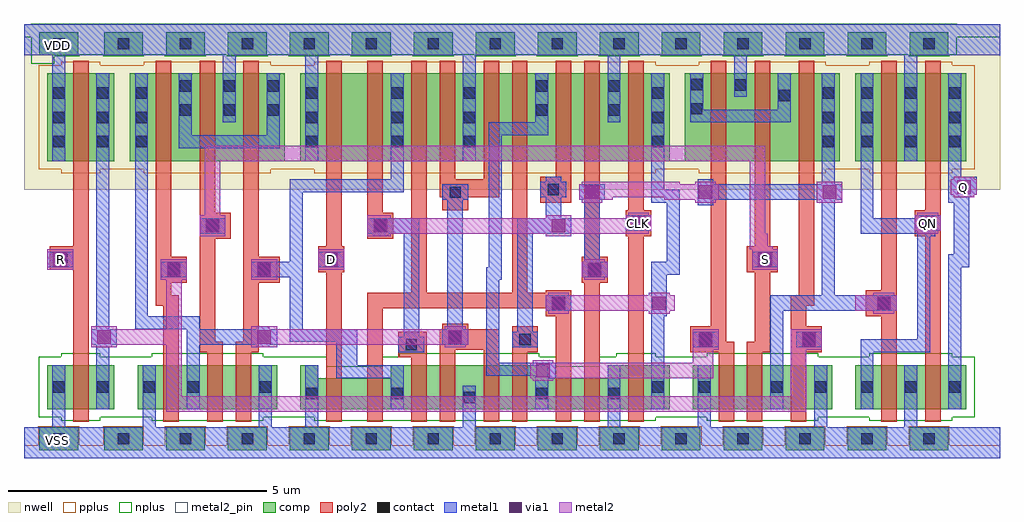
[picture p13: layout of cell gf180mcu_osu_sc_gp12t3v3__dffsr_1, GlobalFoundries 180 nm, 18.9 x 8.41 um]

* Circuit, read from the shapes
.subckt gf180mcu_osu_sc_gp12t3v3__dffsr_1 CLK D Q QN R S VDD VSS
XM1 n1 R VSS VSS nfet_03v3 w=0.85u l=0.3u
XM2 n2 n1 VSS VSS nfet_03v3 w=0.85u l=0.3u
XM3 n3 S n2 VSS nfet_03v3 w=0.85u l=0.3u
XM4 VSS n4 n3 VSS nfet_03v3 w=0.85u l=0.3u
XM5 n5 D VSS VSS nfet_03v3 w=0.6u l=0.3u
XM6 n4 n6 n5 VSS nfet_03v3 w=0.6u l=0.3u
XM7 n7 CLK n4 VSS nfet_03v3 w=0.85u l=0.3u
XM8 VSS n2 n7 VSS nfet_03v3 w=0.85u l=0.3u
XM9 n8 n2 VSS VSS nfet_03v3 w=0.85u l=0.3u
XM10 n9 CLK n8 VSS nfet_03v3 w=0.85u l=0.3u
XM11 n10 n6 n9 VSS nfet_03v3 w=0.6u l=0.3u
XM12 VSS n11 n10 VSS nfet_03v3 w=0.6u l=0.3u
XM13 n6 CLK VSS VSS nfet_03v3 w=0.85u l=0.3u
XM14 n12 n9 VSS VSS nfet_03v3 w=0.85u l=0.3u
XM15 n11 S n12 VSS nfet_03v3 w=0.85u l=0.3u
XM16 VSS n1 n11 VSS nfet_03v3 w=0.85u l=0.3u
XM17 VSS n11 QN VSS nfet_03v3 w=0.85u l=0.3u
XM18 Q QN VSS VSS nfet_03v3 w=0.85u l=0.3u
XM19 n1 R VDD VDD pfet_03v3 w=1.7u l=0.3u
XM20 n13 n1 n2 VDD pfet_03v3 w=1.7u l=0.3u
XM21 VDD S n13 VDD pfet_03v3 w=1.7u l=0.3u
XM22 n13 n4 VDD VDD pfet_03v3 w=1.7u l=0.3u
XM23 n14 D VDD VDD pfet_03v3 w=1.7u l=0.3u
XM24 n4 CLK n14 VDD pfet_03v3 w=1.7u l=0.3u
XM25 n15 n6 n4 VDD pfet_03v3 w=1.7u l=0.3u
XM26 VDD n2 n15 VDD pfet_03v3 w=1.7u l=0.3u
XM27 n16 n2 VDD VDD pfet_03v3 w=1.7u l=0.3u
XM28 n9 n6 n16 VDD pfet_03v3 w=1.7u l=0.3u
XM29 n17 CLK n9 VDD pfet_03v3 w=1.7u l=0.3u
XM30 VDD n11 n17 VDD pfet_03v3 w=1.7u l=0.3u
XM31 n6 CLK VDD VDD pfet_03v3 w=1.7u l=0.3u
XM32 VDD n9 n18 VDD pfet_03v3 w=1.7u l=0.3u
XM33 n18 S VDD VDD pfet_03v3 w=1.7u l=0.3u
XM34 n11 n1 n18 VDD pfet_03v3 w=1.7u l=0.3u
XM35 VDD n11 QN VDD pfet_03v3 w=1.7u l=0.3u
XM36 Q QN VDD VDD pfet_03v3 w=1.7u l=0.3u
.ends

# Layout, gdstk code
import gdstk
lib = gdstk.Library(unit=1e-6, precision=1e-09)
def R(c, l, rs):  # rectangles x0, y0, x1, y1
    for r in rs: c.add(gdstk.rectangle(r[:2], r[2:], *l))
def A(c, l, x, y, w, h, nx, ny, dx, dy):  # array of equal rectangles
    R(c, l, [(x+i*dx, y+j*dy, x+i*dx+w, y+j*dy+h) for i in range(nx) for j in range(ny)])
nwell = (21, 0)
comp = (22, 0)
poly2 = (30, 0)
pplus = (31, 0)
nplus = (32, 0)
contact = (33, 0)
metal1 = (34, 0)
via1 = (35, 0)
metal2 = (36, 0)
metal2_pin = (36, 10)

gf180mcu_osu_sc_gp12t3v3 = lib.new_cell('gf180mcu_osu_sc_gp12t3v3__dffsr_1')
R(gf180mcu_osu_sc_gp12t3v3, nwell, [(0,5.2,18.9,8.4)])
A(gf180mcu_osu_sc_gp12t3v3, comp, 1.55, 0.15, 0.75, 0.45, 14, 2, 1.2, 7.65)
R(gf180mcu_osu_sc_gp12t3v3, comp, [(0.3,0.15,1.05,0.6), (0.45,0.95,1.75,1.8), (2.2,0.95,4.9,1.8), (5.35,0.95,12.5,1.55), (12.95,0.95,15.65,1.8), (16.1,0.95,18.25,1.8), (5.35,1.55,5.7,1.8), (7.1,1.55,10.15,1.8), (11.3,1.55,12.5,1.8), (0.45,5.75,1.75,7.45), (2.05,5.75,5.05,7.45), (5.35,5.75,12.5,7.45), (12.8,5.75,15.8,7.45), (16.1,5.75,18.25,7.45), (0.3,7.8,1.05,8.25)])
R(gf180mcu_osu_sc_gp12t3v3, poly2, [(0.95,0.7,1.25,3.65), (2.7,0.7,3,2.95), (3.55,0.7,3.85,2.05), (4.1,0.7,4.4,2.05), (5.85,0.7,6.15,3.6), (6.65,0.7,6.95,2.9), (7.5,0.7,7.8,1.95), (8.05,0.7,8.35,2.1), (8.9,0.7,9.2,2.1), (9.45,0.7,9.75,2.05), (10.3,0.7,10.6,2.75), (10.85,0.7,11.15,3.4), (11.7,0.7,12,4.3), (13.45,0.7,13.75,2.05), (14,0.7,14.3,2.05), (14.85,0.7,15.15,2.05), (16.6,0.7,16.9,2.75), (17.45,0.7,17.75,4.3), (7.25,1.95,7.8,2.45), (3.4,2.05,3.85,2.25), (4.1,2.05,4.55,2.25), (9.45,2.05,9.95,2.55), (12.9,2.05,13.75,2.25), (14,2.05,14.45,2.25), (14.85,2.05,15.45,2.55), (8.05,2.1,9.2,2.5), (3.4,2.25,3.7,4.25), (4.25,2.25,4.55,3.4), (12.9,2.25,13.6,2.55), (14.15,2.25,14.45,3.6), (8.1,2.5,8.6,2.6), (13.3,2.55,13.6,7.7), (14.85,2.55,15.15,2.95), (10.1,2.75,10.6,2.9), (16.3,2.75,16.9,3.25), (6.65,2.9,10.6,3.2), (2.55,2.95,3,3.15), (14.85,2.95,15.3,3.15), (2.55,3.15,2.85,3.4), (15,3.15,15.3,7.7), (7.5,3.2,7.8,7.7), (9.45,3.2,9.75,7.7), (10.1,3.2,10.6,3.25), (16.6,3.25,16.9,7.7), (2.55,3.4,3.15,3.9), (4.25,3.4,4.95,3.9), (10.8,3.4,11.3,3.9), (5.7,3.6,6.2,4.1), (14,3.6,14.6,4.1), (0.5,3.65,1.25,4.1), (2.55,3.9,2.85,7.7), (4.25,3.9,4.55,7.7), (10.85,3.9,11.15,7.7), (0.95,4.1,1.25,7.7), (5.85,4.1,6.15,7.7), (14.15,4.1,14.45,7.7), (3.4,4.25,4,4.75), (6.65,4.25,7.15,4.75), (11.65,4.3,12.15,4.8), (17.25,4.3,17.75,4.8), (3.4,4.75,3.7,7.7), (6.65,4.75,6.95,7.7), (8.1,4.8,8.6,5.05), (11.7,4.8,12,7.7), (17.45,4.8,17.75,7.7), (10,4.95,10.6,5.45), (8.05,5.05,9.2,5.4), (8.05,5.4,8.35,7.7), (8.9,5.4,9.2,7.7), (10.3,5.45,10.6,7.7)])
A(gf180mcu_osu_sc_gp12t3v3, pplus, 1.53, 0.13, 0.79, 0.49, 14, 1, 1.2, 0)
R(gf180mcu_osu_sc_gp12t3v3, pplus, [(0,0,18.9,0.25), (0.28,0.13,1.07,0.62), (0.72,5.52,1.48,5.59), (2.32,5.52,4.78,5.59), (5.62,5.52,12.23,5.59), (13.07,5.52,15.53,5.59), (16.37,5.52,17.98,5.59), (0.29,5.59,18.41,7.61), (0.72,7.61,1.48,7.68), (2.32,7.61,4.78,7.68), (5.62,7.61,12.23,7.68), (13.07,7.61,15.53,7.68), (16.37,7.61,17.98,7.68)])
A(gf180mcu_osu_sc_gp12t3v3, nplus, 1.53, 7.78, 0.79, 0.03, 14, 1, 1.2, 0)
R(gf180mcu_osu_sc_gp12t3v3, nplus, [(0.72,0.72,1.48,0.79), (2.47,0.72,4.63,0.79), (5.62,0.72,12.23,0.79), (13.22,0.72,15.38,0.79), (16.37,0.72,17.98,0.79), (0.29,0.79,18.41,1.78), (0.29,1.78,5.86,1.96), (6.94,1.78,10.31,1.96), (11.14,1.78,18.41,1.96), (0.72,1.96,1.48,2.03), (2.47,1.96,4.63,2.03), (7.27,1.96,9.98,2.03), (11.47,1.96,12.23,2.03), (13.22,1.96,15.38,2.03), (16.37,1.96,17.98,2.03), (0.14,7.64,0.59,7.78), (0.14,7.78,1.07,7.81), (0.14,7.81,18.06,8.15), (0,8.15,18.9,8.4), (0,8.15,18.9,8.4), (0.14,8.4,18.06,8.41)])
A(gf180mcu_osu_sc_gp12t3v3, contact, 1.815, 0.265, 0.22, 0.22, 14, 2, 1.2, 7.65)
A(gf180mcu_osu_sc_gp12t3v3, contact, 16.215, 1.265, 0.22, 0.22, 3, 2, 0.85, 4.755)
A(gf180mcu_osu_sc_gp12t3v3, contact, 0.565, 6.02, 0.22, 0.22, 1, 3, 0, 0.47)
A(gf180mcu_osu_sc_gp12t3v3, contact, 1.415, 6.02, 0.22, 0.22, 1, 3, 0, 0.47)
A(gf180mcu_osu_sc_gp12t3v3, contact, 2.165, 6.02, 0.22, 0.22, 1, 3, 0, 0.47)
A(gf180mcu_osu_sc_gp12t3v3, contact, 5.465, 6.02, 0.22, 0.22, 1, 3, 0, 0.47)
A(gf180mcu_osu_sc_gp12t3v3, contact, 7.115, 6.02, 0.22, 0.22, 1, 3, 0, 0.47)
A(gf180mcu_osu_sc_gp12t3v3, contact, 8.515, 6.02, 0.22, 0.22, 1, 3, 0, 0.47)
A(gf180mcu_osu_sc_gp12t3v3, contact, 12.165, 6.02, 0.22, 0.22, 1, 3, 0, 0.47)
A(gf180mcu_osu_sc_gp12t3v3, contact, 15.465, 6.02, 0.22, 0.22, 1, 3, 0, 0.47)
A(gf180mcu_osu_sc_gp12t3v3, contact, 16.215, 6.49, 0.22, 0.22, 3, 2, 0.85, 0.47)
A(gf180mcu_osu_sc_gp12t3v3, contact, 3.015, 6.63, 0.22, 0.22, 3, 2, 0.85, 0.47)
R(gf180mcu_osu_sc_gp12t3v3, contact, [(0.565,0.265,0.785,0.485), (8.515,1.065,8.735,1.285), (5.465,1.14,5.685,1.36), (7.115,1.14,7.335,1.36), (9.915,1.14,10.135,1.36), (11.315,1.14,11.535,1.36), (0.565,1.265,0.785,1.485), (1.415,1.265,1.635,1.485), (2.315,1.265,2.535,1.485), (3.165,1.265,3.385,1.485), (4.565,1.265,4.785,1.485), (12.165,1.265,12.385,1.485), (13.065,1.265,13.285,1.485), (14.465,1.265,14.685,1.485), (15.315,1.265,15.535,1.485), (7.39,2.09,7.61,2.31), (9.59,2.19,9.81,2.41), (13.09,2.19,13.31,2.41), (15.09,2.19,15.31,2.41), (8.24,2.24,8.46,2.46), (10.24,2.89,10.46,3.11), (16.54,2.89,16.76,3.11), (2.79,3.54,3.01,3.76), (4.54,3.54,4.76,3.76), (10.94,3.54,11.16,3.76), (5.84,3.74,6.06,3.96), (14.24,3.74,14.46,3.96), (0.615,3.765,0.835,3.985), (3.54,4.39,3.76,4.61), (6.79,4.39,7.01,4.61), (11.79,4.44,12.01,4.66), (17.39,4.44,17.61,4.66), (8.24,5.04,8.46,5.26), (10.14,5.09,10.36,5.31), (9.915,6.63,10.135,6.85), (11.315,6.63,11.535,6.85), (12.915,6.655,13.135,6.875), (14.615,6.915,14.835,7.135), (9.915,7.1,10.135,7.32), (11.315,7.1,11.535,7.32), (13.765,7.115,13.985,7.335), (12.915,7.125,13.135,7.345), (0.565,7.915,0.785,8.135)])
R(gf180mcu_osu_sc_gp12t3v3, metal1, [(0,0,18.9,0.6), (0.55,0.6,0.8,1.8), (2.3,0.6,2.55,1.8), (4.55,0.6,4.8,1.8), (5.45,0.6,5.7,1.8), (8.5,0.6,8.75,1.4), (11.3,0.6,11.55,1.8), (13.05,0.6,13.3,1.8), (15.3,0.6,15.55,1.8), (17.05,0.6,17.3,1.8), (1.4,0.95,1.65,2.15), (3.15,0.95,3.4,2.2), (7.1,0.95,7.35,1.55), (9.9,0.95,10.15,1.55), (12.15,0.95,12.4,2.75), (14.45,0.95,14.7,2.85), (16.2,0.95,16.45,2.05), (17.9,0.95,18.15,3.7), (6.05,1.55,7.35,1.8), (9.9,1.55,10.3,1.6), (8.95,1.6,10.3,1.85), (6.05,1.8,6.45,2.25), (8.95,1.85,9.2,3.45), (7.25,2.05,7.75,2.35), (16.2,2.05,17.55,2.3), (1.4,2.15,1.7,2.2), (4.5,2.15,4.75,2.2), (9.45,2.15,9.95,2.45), (12.95,2.15,13.45,2.45), (14.95,2.15,15.45,2.45), (1.3,2.2,1.8,2.5), (3.15,2.2,4.9,2.5), (8.1,2.2,8.6,2.5), (5.15,2.25,6.45,2.5), (17.3,2.3,17.55,4.3), (7.35,2.35,7.65,4.35), (9.55,2.45,9.85,4.35), (1.4,2.5,1.65,7.45), (2.15,2.5,3.4,2.75), (4.5,2.5,4.75,2.55), (5.15,2.5,5.4,3.5), (8.2,2.5,8.5,5), (2.15,2.75,2.4,7.45), (12.15,2.75,12.45,3.55), (10.1,2.85,10.6,3.15), (14.45,2.85,16.9,3.15), (15.45,3.15,15.7,5), (8.95,3.45,9.25,3.7), (2.65,3.5,3.15,3.8), (4.4,3.5,5.4,3.8), (10.8,3.5,11.3,3.8), (12.15,3.55,12.7,3.8), (0.45,3.7,0.95,4), (5.7,3.7,6.2,4), (9,3.7,9.25,6.25), (14.1,3.7,14.6,4), (17.9,3.7,18.3,3.95), (5.15,3.8,5.4,5.15), (10.85,3.8,11.15,5), (12.45,3.8,12.7,4.95), (18,3.95,18.3,4.95), (6.75,4.3,7.05,4.35), (17.3,4.3,17.65,4.35), (3.4,4.35,3.9,4.65), (6.65,4.35,7.65,4.65), (9.55,4.35,10.6,4.65), (16.2,4.35,17.65,4.4), (11.65,4.4,12.15,4.7), (16.2,4.4,17.75,4.65), (10.1,4.65,10.4,5.05), (16.2,4.65,16.45,7.45), (17.25,4.65,17.75,4.7), (13.05,4.9,13.35,5), (12.15,4.95,12.7,5.2), (17.9,4.95,18.3,5.05), (8.1,5,8.6,5.3), (10.75,5,11.25,5.3), (13.05,5,15.85,5.3), (10,5.05,10.5,5.35), (17.9,5.05,18.4,5.1), (17.9,5.1,18.45,5.45), (5.15,5.15,7.35,5.4), (12.15,5.2,12.4,7.45), (13.05,5.3,13.35,5.4), (15.45,5.3,15.7,7.45), (10.1,5.35,10.4,5.45), (7.1,5.4,7.35,7.45), (17.9,5.45,18.15,7.45), (0.55,5.75,0.8,7.8), (5.45,5.75,5.7,7.8), (8.5,5.75,8.75,7.8), (17.05,5.75,17.3,7.8), (3,6,4.95,6.25), (3,6.25,3.25,7.45), (4.7,6.25,4.95,7.45), (9,6.25,10.15,6.5), (3.85,6.5,4.1,7.8), (9.9,6.5,10.15,7.45), (11.3,6.5,11.55,7.8), (12.9,6.5,14.85,6.75), (12.9,6.75,13.15,7.45), (14.6,6.75,14.85,7.45), (13.75,7,14,7.8), (0,7.8,18.9,8.4)])
R(gf180mcu_osu_sc_gp12t3v3, via1, [(9.92,1.57,10.18,1.83), (13.07,2.17,13.33,2.43), (15.07,2.17,15.33,2.43), (1.42,2.22,1.68,2.48), (4.52,2.22,4.78,2.48), (8.22,2.22,8.48,2.48), (10.22,2.87,10.48,3.13), (12.17,2.87,12.43,3.13), (16.52,2.87,16.78,3.13), (2.77,3.52,3.03,3.78), (4.52,3.52,4.78,3.78), (10.92,3.52,11.18,3.78), (0.57,3.72,0.83,3.98), (5.82,3.72,6.08,3.98), (14.22,3.72,14.48,3.98), (3.52,4.37,3.78,4.63), (6.77,4.37,7.03,4.63), (10.22,4.37,10.48,4.63), (11.77,4.42,12.03,4.68), (17.37,4.42,17.63,4.68), (10.87,5.02,11.13,5.28), (13.07,5.02,13.33,5.28), (15.47,5.02,15.73,5.28), (18.07,5.12,18.33,5.38)])
R(gf180mcu_osu_sc_gp12t3v3, metal2, [(2.75,0.9,15.15,1.2), (2.75,1.2,3.05,2.2), (14.85,1.2,15.15,2.1), (9.85,1.5,10.25,1.55), (9.8,1.55,13.35,1.85), (9.85,1.85,10.25,1.9), (12.95,1.85,13.35,2.1), (12.95,2.1,13.45,2.5), (14.85,2.1,15.45,2.5), (1.3,2.15,1.8,2.2), (4.4,2.15,4.9,2.2), (8.15,2.15,8.55,2.2), (1.3,2.2,3.05,2.5), (4.4,2.2,8.6,2.5), (1.3,2.5,1.8,2.55), (2.75,2.5,3.05,3.45), (4.4,2.5,4.9,2.55), (8.15,2.5,8.55,2.55), (10.15,2.8,10.55,2.85), (12.1,2.8,12.5,2.85), (16.45,2.8,16.85,2.85), (10.1,2.85,12.6,3.15), (16.1,2.85,16.9,3.15), (10.15,3.15,10.55,3.2), (12.1,3.15,12.5,3.2), (16.45,3.15,16.85,3.2), (2.65,3.45,3.15,3.85), (4.4,3.45,4.9,3.85), (10.85,3.45,11.25,3.5), (10.8,3.5,11.3,3.8), (0.45,3.65,0.95,4.05), (5.7,3.65,6.2,4.05), (14.1,3.65,14.6,4.05), (10.85,3.8,11.25,3.85), (14.05,4.05,14.5,4.1), (14.05,4.1,14.4,4.35), (3.4,4.3,3.9,4.7), (6.65,4.3,7.1,4.35), (10.1,4.3,10.6,4.35), (6.65,4.35,12.1,4.4), (14.05,4.35,14.35,5.75), (17.3,4.35,17.7,4.4), (6.65,4.4,12.15,4.65), (17.25,4.4,17.75,4.7), (6.65,4.65,7.1,4.7), (10.1,4.65,10.6,4.7), (11.65,4.65,12.15,4.7), (3.5,4.7,3.8,5.75), (11.7,4.7,12.1,4.75), (17.3,4.7,17.7,4.75), (10.8,4.95,11.2,5), (13,4.95,13.4,5), (15.35,4.95,15.85,5.35), (10.75,5,11.4,5.05), (12.4,5,13.45,5.05), (10.75,5.05,13.45,5.3), (18,5.05,18.4,5.1), (17.95,5.1,18.45,5.4), (10.8,5.3,12.7,5.35), (13,5.3,13.4,5.35), (18,5.4,18.4,5.45), (3.5,5.75,14.35,6.05)])
R(gf180mcu_osu_sc_gp12t3v3, metal2_pin, [(0.55,3.7,0.85,4), (14.2,3.7,14.5,4)])
gf180mcu_osu_sc_gp12t3v3.add(gdstk.Label('D', (5.95,3.85), layer=36, texttype=10))
gf180mcu_osu_sc_gp12t3v3.add(gdstk.Label('CLK', (11.9,4.55), layer=36, texttype=10))
gf180mcu_osu_sc_gp12t3v3.add(gdstk.Label('Q', (18.2,5.25), layer=36, texttype=10))
gf180mcu_osu_sc_gp12t3v3.add(gdstk.Label('QN', (17.5,4.55), layer=36, texttype=10))
gf180mcu_osu_sc_gp12t3v3.add(gdstk.Label('R', (0.7,3.85), layer=36, texttype=10))
gf180mcu_osu_sc_gp12t3v3.add(gdstk.Label('S', (14.35,3.85), layer=36, texttype=10))
gf180mcu_osu_sc_gp12t3v3.add(gdstk.Label('VDD', (0.65,8), layer=34, texttype=10))
gf180mcu_osu_sc_gp12t3v3.add(gdstk.Label('VSS', (0.65,0.35), layer=34, texttype=10))

lib.write_gds('gf180mcu_osu_sc_gp12t3v3__dffsr_1.gds')
